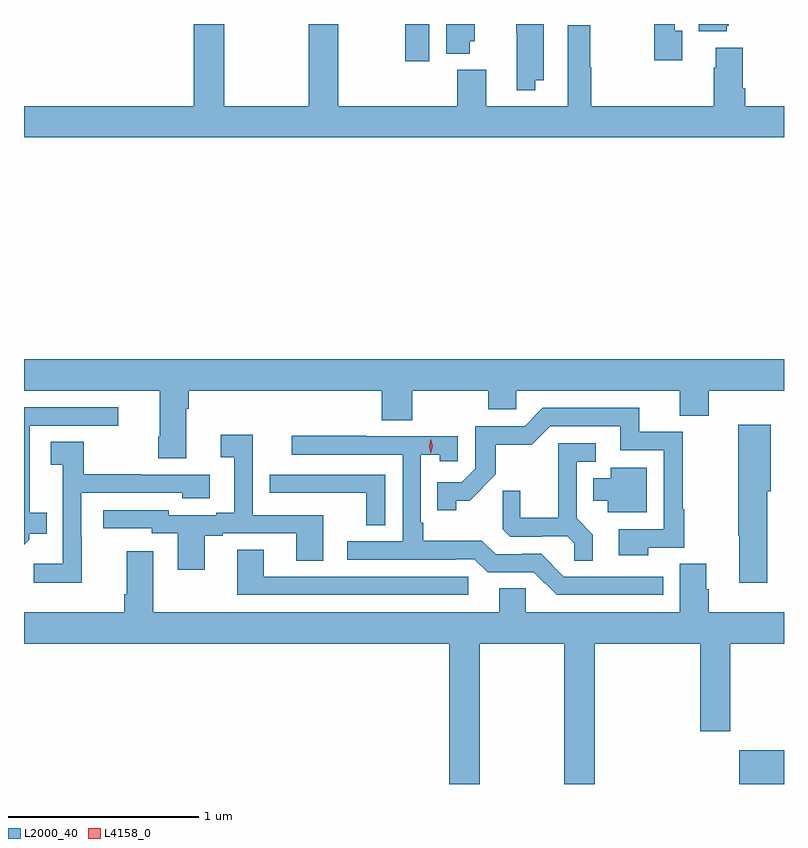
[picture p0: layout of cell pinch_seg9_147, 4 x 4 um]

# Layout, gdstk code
import gdstk
lib = gdstk.Library(unit=1e-6, precision=1e-09)
def R(c, l, rs):  # rectangles x0, y0, x1, y1
    for r in rs: c.add(gdstk.rectangle(r[:2], r[2:], *l))
def P(c, l, *ps):  # polygons
    for p in ps: c.add(gdstk.Polygon(p, *l))
L2000_40 = (2000, 40)
L4158_0 = (4158, 0)

pinch_seg9_147 = lib.new_cell('pinch_seg9_147')
R(pinch_seg9_147, L2000_40, [(679.502,1238.305,679.737,1238.482), (677.743,1242.108,677.869,1242.305)])
P(pinch_seg9_147, L2000_40, [(679.737,1241.872),(679.532,1241.872),(679.532,1241.968),(679.519,1241.968),(679.519,1242.181),(679.379,1242.181),(679.379,1242.074),(679.367,1242.074),(679.367,1241.872),(678.722,1241.872),(678.722,1242.077),(678.717,1242.077),(678.717,1242.298),(678.599,1242.298),(678.599,1241.872),(678.169,1241.872),(678.169,1242.064),(678.017,1242.064),(678.017,1241.872),(677.391,1241.872),(677.391,1242.305),(677.236,1242.305),(677.236,1241.872),(676.791,1241.872),(676.791,1242.305),(676.631,1242.305),(676.631,1241.872),(675.737,1241.872),(675.737,1241.708),(679.737,1241.708)],
  [(678.427,1242.008),(678.472,1242.008),(678.472,1242.263),(678.473,1242.263),(678.473,1242.305),(678.329,1242.305),(678.329,1242.26),(678.33,1242.26),(678.33,1241.957),(678.427,1241.957)],
  [(679.436,1242.297),(679.447,1242.297),(679.447,1242.305),(679.289,1242.305),(679.289,1242.266),(679.436,1242.266)],
  [(679.201,1242.27),(679.161,1242.27),(679.161,1242.305),(679.053,1242.305),(679.053,1242.114),(679.201,1242.114)],
  [(678.082,1242.213),(678.109,1242.213),(678.109,1242.305),(677.96,1242.305),(677.96,1242.149),(678.082,1242.149)],
  [(676.591,1240.28),(676.604,1240.28),(676.604,1240.376),(677.621,1240.376),(677.621,1240.219),(677.781,1240.219),(677.781,1240.376),(678.181,1240.376),(678.181,1240.278),(678.327,1240.278),(678.327,1240.376),(679.187,1240.376),(679.187,1240.243),(679.34,1240.243),(679.34,1240.376),(679.737,1240.376),(679.737,1240.54),(675.737,1240.54),(675.737,1240.376),(676.451,1240.376),(676.451,1240.132),(676.444,1240.132),(676.444,1240.02),(676.591,1240.02)],
  [(675.765,1239.591),(675.765,1239.623),(675.857,1239.623),(675.857,1239.733),(675.766,1239.733),(675.766,1240.191),(676.234,1240.191),(676.234,1240.287),(675.737,1240.287),(675.737,1239.563)],
  [(679.023,1239.549),(679.213,1239.549),(679.213,1239.752),(679.205,1239.752),(679.205,1240.158),(678.974,1240.158),(678.974,1240.284),(678.468,1240.284),(678.372,1240.188),(678.111,1240.188),(678.111,1239.963),(678.042,1239.894),(677.911,1239.894),(677.911,1239.747),(678.012,1239.747),(678.012,1239.797),(678.082,1239.797),(678.22,1239.934),(678.22,1240.09),(678.409,1240.09),(678.507,1240.188),(678.875,1240.188),(678.875,1240.062),(679.104,1240.062),(679.104,1239.645),(678.867,1239.645),(678.867,1239.509),(679.023,1239.509)],
  [(679.649,1239.846),(679.667,1239.846),(679.667,1240.195),(679.496,1240.195),(679.496,1239.846),(679.495,1239.846),(679.495,1239.611),(679.502,1239.611),(679.502,1239.363),(679.649,1239.363)],
  [(676.687,1239.612),(676.783,1239.612),(676.783,1239.624),(677.171,1239.624),(677.171,1239.481),(677.311,1239.481),(677.311,1239.72),(676.941,1239.72),(676.941,1240.144),(676.773,1240.144),(676.773,1240.024),(676.844,1240.024),(676.844,1239.733),(676.748,1239.733),(676.748,1239.72),(676.5,1239.72),(676.5,1239.747),(676.155,1239.747),(676.155,1239.651),(676.41,1239.651),(676.41,1239.624),(676.547,1239.624),(676.547,1239.432),(676.687,1239.432)],
  [(679.102,1239.396),(678.579,1239.396),(678.459,1239.516),(678.358,1239.516),(678.358,1239.513),(678.219,1239.513),(678.146,1239.586),(677.839,1239.586),(677.839,1239.679),(677.826,1239.679),(677.826,1240.037),(677.925,1240.037),(677.925,1240.005),(678.021,1240.005),(678.021,1240.134),(677.537,1240.134),(677.537,1240.137),(677.145,1240.137),(677.145,1240.038),(677.73,1240.038),(677.73,1239.582),(677.439,1239.582),(677.439,1239.486),(678.008,1239.486),(678.008,1239.489),(678.108,1239.489),(678.177,1239.42),(678.42,1239.42),(678.54,1239.3),(679.102,1239.3)],
  [(676.041,1239.605),(676.038,1239.605),(676.038,1239.837),(676.569,1239.837),(676.569,1239.809),(676.714,1239.809),(676.714,1239.933),(676.355,1239.933),(676.355,1239.936),(676.051,1239.936),(676.051,1240.106),(675.879,1240.106),(675.879,1239.985),(675.942,1239.985),(675.942,1239.463),(675.789,1239.463),(675.789,1239.365),(676.041,1239.365)],
  [(678.731,1239.617),(678.645,1239.703),(678.645,1240.002),(678.745,1240.002),(678.745,1240.098),(678.548,1240.098),(678.548,1239.706),(678.35,1239.706),(678.35,1239.849),(678.256,1239.849),(678.256,1239.647),(678.297,1239.606),(678.462,1239.606),(678.462,1239.609),(678.596,1239.609),(678.633,1239.572),(678.633,1239.481),(678.731,1239.481)],
  [(679.015,1239.97),(678.824,1239.97),(678.824,1239.913),(678.734,1239.913),(678.734,1239.797),(678.809,1239.797),(678.809,1239.734),(679.015,1239.734)],
  [(677.637,1239.933),(677.031,1239.933),(677.031,1239.838),(677.143,1239.838),(677.143,1239.837),(677.539,1239.837),(677.539,1239.667),(677.637,1239.667)],
  [(678.076,1239.396),(676.999,1239.396),(676.999,1239.539),(676.859,1239.539),(676.859,1239.3),(678.076,1239.3)],
  [(679.295,1238.583),(679.455,1238.583),(679.455,1239.044),(679.737,1239.044),(679.737,1239.208),(679.34,1239.208),(679.34,1239.33),(679.327,1239.33),(679.327,1239.464),(679.187,1239.464),(679.187,1239.208),(678.378,1239.208),(678.378,1239.335),(678.239,1239.335),(678.239,1239.208),(676.417,1239.208),(676.417,1239.529),(676.277,1239.529),(676.277,1239.304),(676.265,1239.304),(676.265,1239.208),(675.737,1239.208),(675.737,1239.044),(677.975,1239.044),(677.975,1238.305),(678.135,1238.305),(678.135,1239.044),(678.58,1239.044),(678.58,1238.305),(678.74,1238.305),(678.74,1239.044),(679.295,1239.044)])
P(pinch_seg9_147, L4158_0, [(677.879,1240.047),(677.879,1240.047),(677.869,1240.083),(677.879,1240.119),(677.879,1240.119),(677.879,1240.119),(677.889,1240.083),(677.879,1240.047)])

lib.write_gds('pinch_seg9_147.gds')
